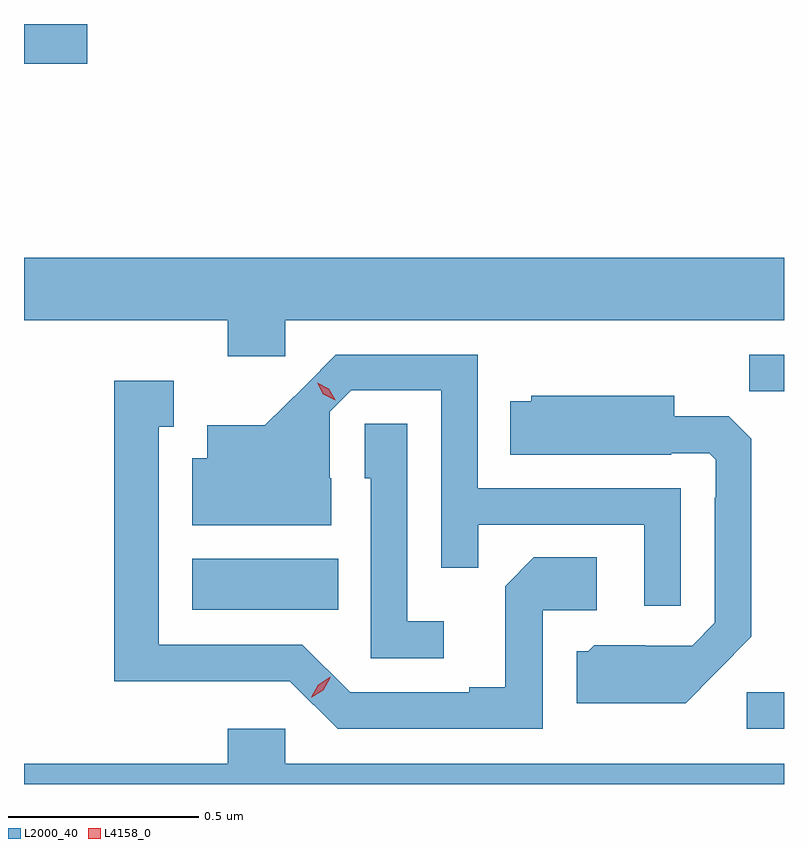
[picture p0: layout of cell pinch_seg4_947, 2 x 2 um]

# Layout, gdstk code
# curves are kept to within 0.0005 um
import gdstk
lib = gdstk.Library(unit=1e-6, precision=1e-09)
def R(c, l, rs):  # rectangles x0, y0, x1, y1
    for r in rs: c.add(gdstk.rectangle(r[:2], r[2:], *l))
def P(c, l, *ps):  # polygons
    for p in ps: c.add(gdstk.Polygon(p, *l))
L2000_40 = (2000, 40)
L4158_0 = (4158, 0)

pinch_seg4_947 = lib.new_cell('pinch_seg4_947')
R(pinch_seg4_947, L2000_40, [(660.975,798.408,661.073,798.504), (659.516,798.722,659.9,798.856), (660.982,799.297,661.073,799.392), (659.073,800.159,659.239,800.263)])
P(pinch_seg4_947, L2000_40, [(659.76,799.484),(661.073,799.484),(661.073,799.648),(659.073,799.648),(659.073,799.484),(659.609,799.484),(659.609,799.389),(659.76,799.389)],
  [(660.801,799.041),(660.267,799.041),(660.267,799.392),(659.894,799.392),(659.707,799.207),(659.555,799.207),(659.555,799.12),(659.516,799.12),(659.516,798.944),(659.881,798.944),(659.881,799.068),(659.877,799.068),(659.877,799.242),(659.934,799.299),(660.171,799.299),(660.171,798.832),(660.269,798.832),(660.269,798.945),(660.705,798.945),(660.705,798.732),(660.801,798.732)],
  [(660.438,798.72),(660.58,798.72),(660.58,798.86),(660.415,798.86),(660.339,798.784),(660.339,798.517),(660.245,798.517),(660.245,798.504),(659.931,798.504),(659.805,798.63),(659.428,798.63),(659.428,799.203),(659.467,799.203),(659.467,799.324),(659.31,799.324),(659.31,798.533),(659.55,798.533),(659.55,798.534),(659.772,798.534),(659.898,798.408),(660.438,798.408)],
  [(660.895,798.557),(660.987,798.65),(660.987,799.172),(660.928,799.231),(660.784,799.231),(660.784,799.285),(660.408,799.285),(660.408,799.27),(660.352,799.27),(660.352,799.13),(660.776,799.13),(660.776,799.134),(660.876,799.134),(660.894,799.116),(660.894,799.016),(660.891,799.016),(660.891,798.687),(660.831,798.627),(660.708,798.627),(660.708,798.628),(660.574,798.628),(660.558,798.612),(660.527,798.612),(660.527,798.476),(660.815,798.476)],
  [(660.178,798.691),(660.081,798.691),(660.081,799.211),(659.97,799.211),(659.97,799.068),(659.985,799.068),(659.985,798.594),(660.178,798.594)],
  [(661.073,798.316),(659.76,798.316),(659.76,798.409),(659.609,798.409),(659.609,798.316),(659.073,798.316),(659.073,798.263),(661.073,798.263)])
P(pinch_seg4_947, L4158_0, [(659.892,799.273),(659.861,799.289),(659.845,799.319),(659.845,799.319),(659.845,799.319),(659.875,799.303),(659.892,799.274),(659.892,799.273)],
  [(659.829,798.491),(659.829,798.491),(659.847,798.524),(659.878,798.544),(659.879,798.544),(659.879,798.543),(659.861,798.51),(659.83,798.491)])

lib.write_gds('pinch_seg4_947.gds')
